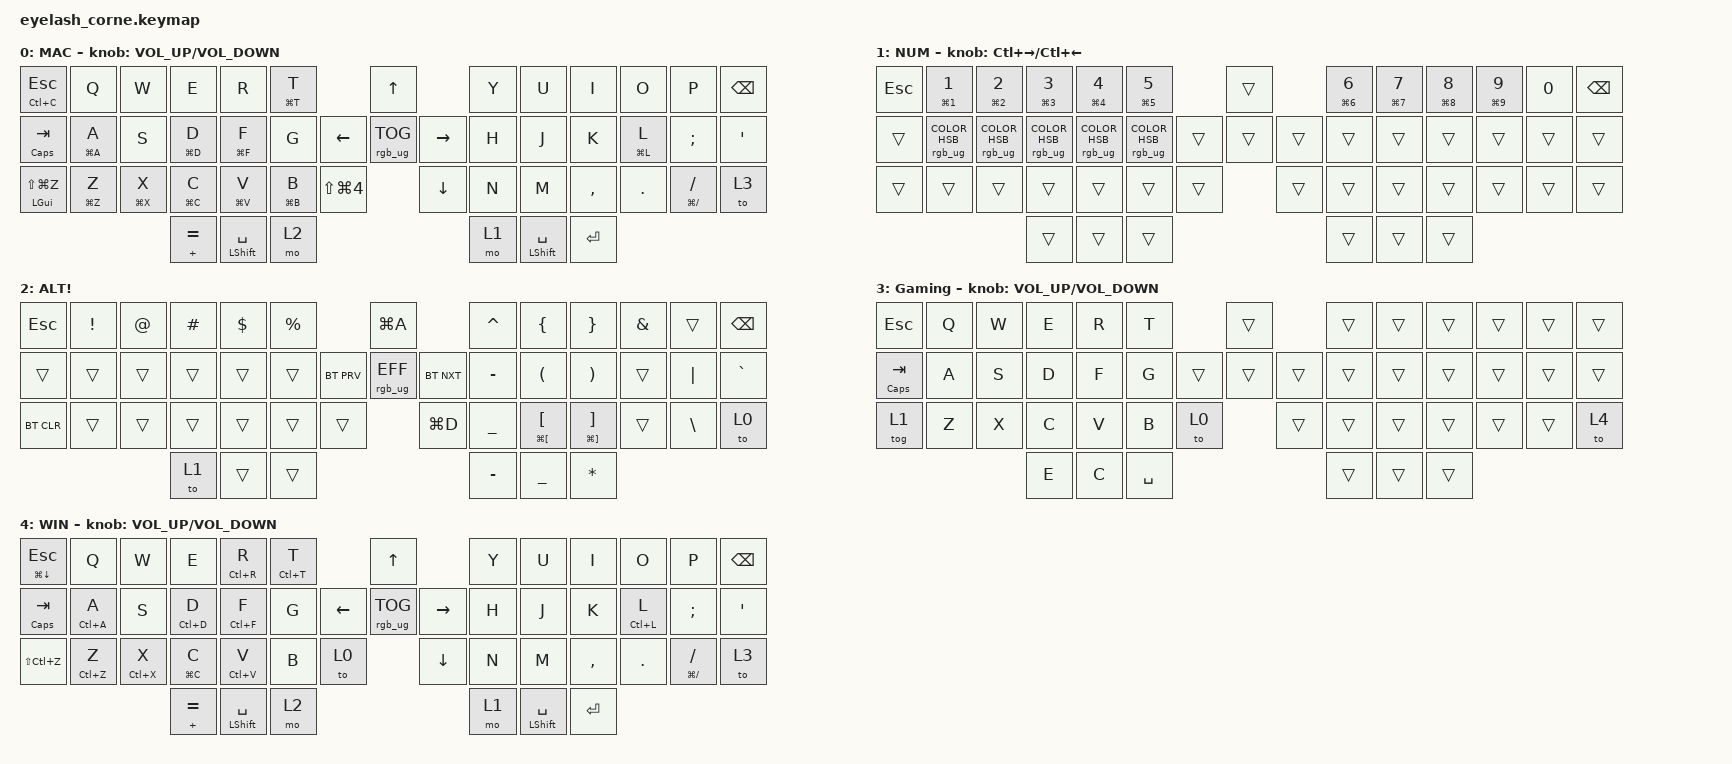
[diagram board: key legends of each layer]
#include <dt-bindings/zmk/mouse.h>
#include <behaviors.dtsi>
#include <dt-bindings/zmk/bt.h>
#include <dt-bindings/zmk/keys.h>
#include <dt-bindings/zmk/rgb.h>

&mt {
    tapping-term-ms = <600>;
    quick-tap-ms = <100>;
    hold-trigger-on-release;
    require-prior-idle-ms = <150>;
    flavor = "balanced";
};

/ {
    behaviors {
        td0: td0 {
            compatible = "zmk,behavior-tap-dance";
            #binding-cells = <0>;
            bindings = <&rgb_ug RGB_EFF>, <&rgb_ug RGB_TOG>;
        };

        Long: Long {
            compatible = "zmk,behavior-hold-tap";
            bindings = <&kp>, <&kp>;

            #binding-cells = <2>;
            flavor = "balanced";
            quick-tap-ms = <200>;
            tapping-term-ms = <800>;
            require-prior-idle-ms = <150>;
        };
    };

    rgb_encoder: rgb_encoder {
        compatible = "zmk,behavior-sensor-rotate";
        #sensor-binding-cells = <0>;
        bindings = <&rgb_ug RGB_BRI>, <&rgb_ug RGB_BRD>;
    };

    keymap {
        compatible = "zmk,keymap";

        Macbook {
            display-name = "MAC";
            bindings = <
&mt LC(C) ESC       &kp Q        &kp W        &kp E           &kp R               &Long LG(T) T                              &kp UP                            &kp Y  &kp U                   &kp I      &kp O        &kp P              &kp BSPC
&mt CLCK TAB        &mt LG(A) A  &kp S        &mt LG(D) D     &mt LG(F) F         &kp G                            &kp LEFT  &rgb_ug RGB_TOG  &kp RIGHT_ARROW  &kp H  &kp J                   &kp K      &mt LG(L) L  &kp SEMI           &kp SQT
&mt LGUI LS(LG(Z))  &mt LG(Z) Z  &mt LG(X) X  &mt LG(C) C     &mt LG(V) V         &mt LG(B) B    &kp LS(LG(N4))              &kp DOWN                          &kp N  &kp M                   &kp COMMA  &kp DOT      &mt LG(FSLH) FSLH  &to 3
                                              &mt PLUS EQUAL  &Long LSHIFT SPACE  &mo 2                                                                        &mo 1  &Long LEFT_SHIFT SPACE  &kp ENTER
            >;

            sensor-bindings = <&inc_dec_kp C_VOLUME_UP C_VOLUME_DOWN>;
        };

        Numbers {
            bindings = <
&kp ESC  &mt LG(N1) N1                    &mt LG(N2) N2                      &mt LG(N3) N3                     &mt LG(N4) N4                      &mt LG(N5) N5                                        &trans          &mt LG(N6) N6  &mt LG(N7) N7  &mt LG(N8) N8  &mt LG(N9) N9  &kp N0  &kp BSPC
&trans   &rgb_ug RGB_COLOR_HSB(0,100,50)  &rgb_ug RGB_COLOR_HSB(220,100,50)  &rgb_ug RGB_COLOR_HSB(112,84,46)  &rgb_ug RGB_COLOR_HSB(276,100,50)  &rgb_ug RGB_COLOR_HSB(305,100,50)            &trans  &trans  &trans  &trans         &trans         &trans         &trans         &trans  &trans
&trans   &trans                           &trans                             &trans                            &trans                             &trans                             &trans            &trans          &trans         &trans         &trans         &trans         &trans  &trans
                                                                             &trans                            &trans                             &trans                                                               &trans         &trans         &trans
            >;

            label = "NUM";
            sensor-bindings = <&inc_dec_kp LC(RIGHT) LC(LEFT)>;
        };

        Symbol {
            display-name = "ALT!";
            bindings = <
&kp ESC     &kp EXCL  &kp AT  &kp HASH  &kp DLLR  &kp PRCNT                        &kp LG(A)                    &kp CARET  &kp LBRC           &kp RBRC           &kp AMPS  &trans         &kp BSPC
&trans      &trans    &trans  &trans    &trans    &trans               &bt BT_PRV  &rgb_ug RGB_EFF  &bt BT_NXT  &kp MINUS  &kp LPAR           &kp RPAR           &trans    &kp PIPE       &kp GRAVE
&bt BT_CLR  &trans    &trans  &trans    &trans    &trans     &trans                &kp LG(D)                    &kp UNDER  &mt LG(LBKT) LBKT  &mt LG(RBKT) RBKT  &trans    &kp BACKSLASH  &to 0
                              &to 1     &trans    &trans                                                        &kp MINUS  &kp UNDER          &kp ASTRK
            >;

            label = "ALT!";
        };

        Games {
            display-name = "Gaming";
            bindings = <
&kp ESC       &kp Q  &kp W  &kp E  &kp R  &kp T                       &trans          &trans  &trans  &trans  &trans  &trans  &trans
&mt CLCK TAB  &kp A  &kp S  &kp D  &kp F  &kp G               &trans  &trans  &trans  &trans  &trans  &trans  &trans  &trans  &trans
&tog 1        &kp Z  &kp X  &kp C  &kp V  &kp B      &to 0            &trans          &trans  &trans  &trans  &trans  &trans  &to 4
                            &kp E  &kp C  &kp SPACE                                   &trans  &trans  &trans
            >;

            sensor-bindings = <&inc_dec_kp C_VOLUME_UP C_VOLUME_DOWN>;
            label = "GAMING";
        };

        Windows {
            display-name = "WIN";
            bindings = <
&mt LG(DOWN) ESC  &kp Q        &kp W        &kp E           &Long LC(R) R       &Long LC(T) T                     &kp UP                            &kp Y  &kp U                   &kp I      &kp O        &kp P              &kp BSPC
&mt CLCK TAB      &mt LC(A) A  &kp S        &mt LC(D) D     &mt LC(F) F         &kp G                   &kp LEFT  &rgb_ug RGB_TOG  &kp RIGHT_ARROW  &kp H  &kp J                   &kp K      &mt LC(L) L  &kp SEMI           &kp SQT
&kp LS(LC(Z))     &mt LC(Z) Z  &mt LC(X) X  &mt LG(C) C     &mt LC(V) V         &kp B          &to 0              &kp DOWN                          &kp N  &kp M                   &kp COMMA  &kp DOT      &mt LG(FSLH) FSLH  &to 3
                                            &mt PLUS EQUAL  &Long LSHIFT SPACE  &mo 2                                                               &mo 1  &Long LEFT_SHIFT SPACE  &kp ENTER
            >;

            sensor-bindings = <&inc_dec_kp C_VOLUME_UP C_VOLUME_DOWN>;
        };
    };
};
